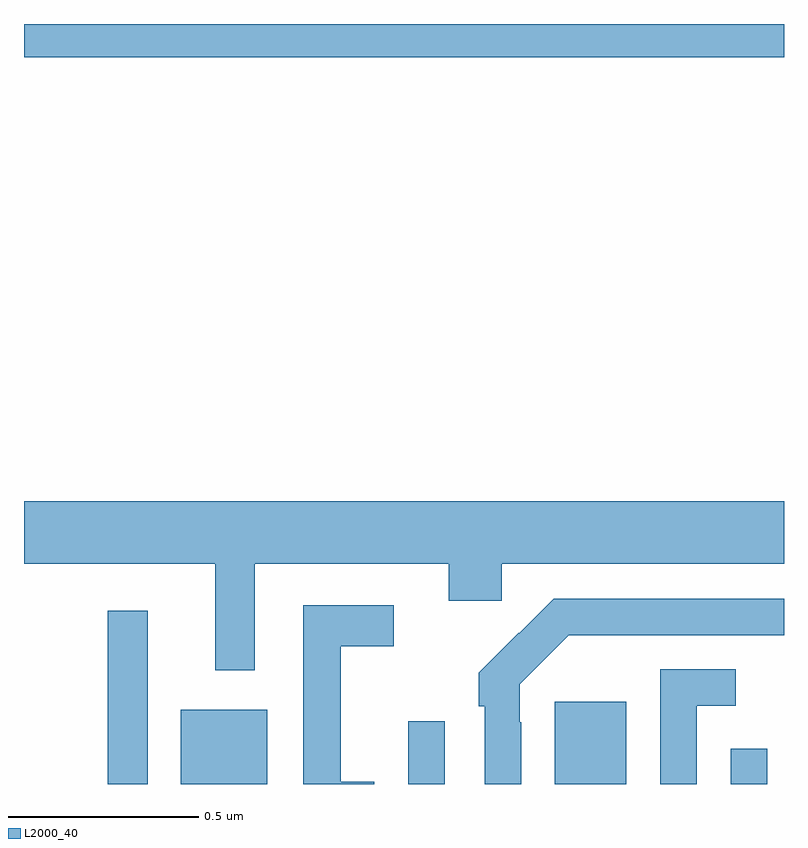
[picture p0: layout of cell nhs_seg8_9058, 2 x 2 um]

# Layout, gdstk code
import gdstk
lib = gdstk.Library(unit=1e-6, precision=1e-09)
def R(c, l, rs):  # rectangles x0, y0, x1, y1
    for r in rs: c.add(gdstk.rectangle(r[:2], r[2:], *l))
def P(c, l, *ps):  # polygons
    for p in ps: c.add(gdstk.Polygon(p, *l))
L2000_40 = (2000, 40)

nhs_seg8_9058 = lib.new_cell('nhs_seg8_9058')
R(nhs_seg8_9058, L2000_40, [(231.221,1135.9,231.325,1136.356), (231.413,1135.9,231.64,1136.095), (232.011,1135.9,232.107,1136.065), (232.397,1135.9,232.585,1136.116), (232.86,1135.9,232.956,1135.993), (231,1137.812,233,1137.9)])
P(nhs_seg8_9058, L2000_40, [(231.607,1136.48),(232.118,1136.48),(232.118,1136.382),(232.257,1136.382),(232.257,1136.48),(233,1136.48),(233,1136.644),(231,1136.644),(231,1136.48),(231.503,1136.48),(231.503,1136.199),(231.607,1136.199)],
  [(232.308,1136.063),(232.305,1136.063),(232.305,1136.163),(232.434,1136.292),(233,1136.292),(233,1136.388),(232.394,1136.388),(232.303,1136.297),(232.302,1136.298),(232.197,1136.193),(232.197,1136.105),(232.212,1136.105),(232.212,1135.9),(232.308,1135.9)],
  [(231.922,1135.906),(231.833,1135.906),(231.833,1136.262),(231.973,1136.262),(231.973,1136.37),(231.735,1136.37),(231.735,1135.9),(231.922,1135.9)],
  [(232.77,1136.106),(232.873,1136.106),(232.873,1136.202),(232.674,1136.202),(232.674,1135.9),(232.77,1135.9)])

lib.write_gds('nhs_seg8_9058.gds')
